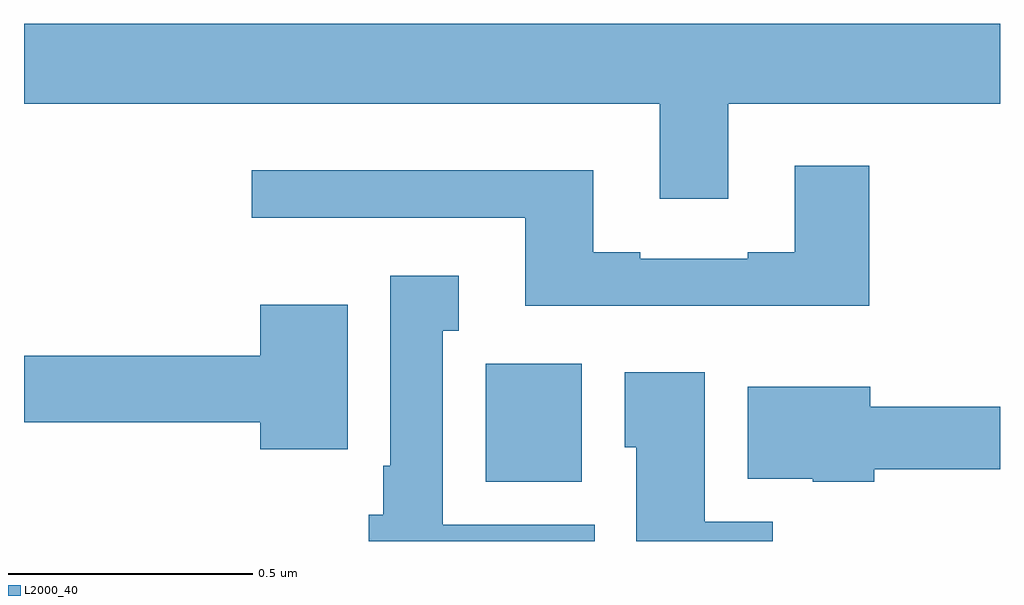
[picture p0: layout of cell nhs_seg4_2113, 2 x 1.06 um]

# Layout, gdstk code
import gdstk
lib = gdstk.Library(unit=1e-6, precision=1e-09)
def R(c, l, rs):  # rectangles x0, y0, x1, y1
    for r in rs: c.add(gdstk.rectangle(r[:2], r[2:], *l))
def P(c, l, *ps):  # polygons
    for p in ps: c.add(gdstk.Polygon(p, *l))
L2000_40 = (2000, 40)

nhs_seg4_2113 = lib.new_cell('nhs_seg4_2113')
R(nhs_seg4_2113, L2000_40, [(136.946,820.022,137.143,820.264)])
P(nhs_seg4_2113, L2000_40, [(137.443,820.796),(138,820.796),(138,820.96),(136,820.96),(136,820.796),(137.303,820.796),(137.303,820.602),(137.443,820.602)],
  [(137.732,820.669),(137.579,820.669),(137.579,820.492),(137.483,820.492),(137.483,820.479),(137.263,820.479),(137.263,820.492),(137.167,820.492),(137.167,820.66),(136.467,820.66),(136.467,820.563),(137.027,820.563),(137.027,820.382),(137.732,820.382)],
  [(137.17,819.934),(136.858,819.934),(136.858,820.331),(136.891,820.331),(136.891,820.444),(136.751,820.444),(136.751,820.054),(136.736,820.054),(136.736,819.954),(136.706,819.954),(136.706,819.9),(137.17,819.9)],
  [(136.663,820.384),(136.484,820.384),(136.484,820.28),(136,820.28),(136,820.144),(136.484,820.144),(136.484,820.088),(136.663,820.088)],
  [(137.534,819.94),(137.395,819.94),(137.395,820.246),(137.231,820.246),(137.231,820.092),(137.255,820.092),(137.255,819.9),(137.534,819.9)],
  [(137.742,820.047),(138,820.047),(138,820.175),(137.734,820.175),(137.734,820.216),(137.483,820.216),(137.483,820.028),(137.616,820.028),(137.616,820.022),(137.742,820.022)])

lib.write_gds('nhs_seg4_2113.gds')
